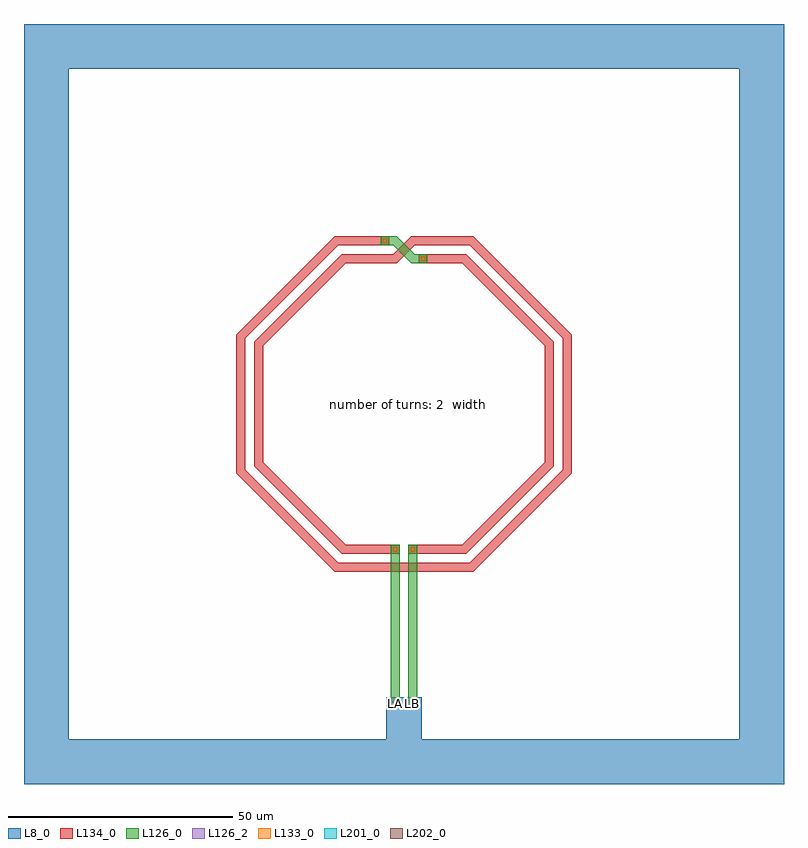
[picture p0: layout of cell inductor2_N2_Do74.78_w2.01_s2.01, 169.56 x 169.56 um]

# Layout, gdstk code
import gdstk
lib = gdstk.Library(unit=1e-6, precision=1e-09)
def R(c, l, rs):  # rectangles x0, y0, x1, y1
    for r in rs: c.add(gdstk.rectangle(r[:2], r[2:], *l))
def P(c, l, *ps):  # polygons
    for p in ps: c.add(gdstk.Polygon(p, *l))
L8_0 = (8, 0)
L126_0 = (126, 0)
L126_2 = (126, 2)
L133_0 = (133, 0)
L134_0 = (134, 0)
L201_0 = (201, 0)
L202_0 = (202, 0)

inductor2_n2_do74_78_w2_ = lib.new_cell('inductor2_N2_Do74.78_w2.01_s2.01')
R(inductor2_n2_do74_78_w2_, L8_0, [(-84.78,-84.78,-74.78,84.78), (-74.78,-84.78,74.78,-74.78), (74.78,-84.78,84.78,84.78), (-4,-74.78,4,-65.39), (-74.78,74.78,74.78,84.78)])
R(inductor2_n2_do74_78_w2_, L126_0, [(-3,-67.39,-1,-31.39), (1,-67.39,3,-31.39)])
P(inductor2_n2_do74_78_w2_, L126_0, [(-5.24,37.39),(-5.24,35.39),(-2.414,35.39),(1.586,31.39),(5.24,31.39),(5.24,33.39),(2.414,33.39),(-1.586,37.39)])
R(inductor2_n2_do74_78_w2_, L126_2, [(-3,-67.39,-1,-66.39), (1,-67.39,3,-66.39)])
R(inductor2_n2_do74_78_w2_, L133_0, [(-2.45,-32.84,-1.55,-31.94), (1.55,-32.84,2.45,-31.94), (3.8,31.94,4.7,32.84), (-4.7,35.94,-3.8,36.84)])
R(inductor2_n2_do74_78_w2_, L134_0, [(-5.245,-37.39,5.245,-35.39)])
P(inductor2_n2_do74_78_w2_, L134_0, [(-3.24,-37.39),(-3.24,-35.39),(-14.656,-35.39),(-35.39,-14.656),(-35.39,2),(-37.39,2),(-37.39,-15.484),(-15.484,-37.39)],
  [(-3.24,35.39),(-3.24,37.39),(-15.484,37.39),(-37.39,15.484),(-37.39,-2),(-35.39,-2),(-35.39,14.656),(-14.656,35.39)],
  [(3.24,-35.39),(3.24,-37.39),(15.484,-37.39),(37.39,-15.484),(37.39,2),(35.39,2),(35.39,-14.656),(14.656,-35.39)],
  [(3.24,37.39),(3.24,35.39),(14.656,35.39),(35.39,14.656),(35.39,-2),(37.39,-2),(37.39,15.484),(15.484,37.39)],
  [(-1,-33.39),(-1,-31.39),(-13.006,-31.39),(-31.39,-13.006),(-31.39,2),(-33.39,2),(-33.39,-13.834),(-13.834,-33.39)],
  [(-3.24,31.39),(-3.24,33.39),(-13.834,33.39),(-33.39,13.834),(-33.39,-2),(-31.39,-2),(-31.39,13.006),(-13.006,31.39)],
  [(1,-31.39),(1,-33.39),(13.834,-33.39),(33.39,-13.834),(33.39,2),(31.39,2),(31.39,-13.006),(13.006,-31.39)],
  [(3.24,33.39),(3.24,31.39),(13.006,31.39),(31.39,13.006),(31.39,-2),(33.39,-2),(33.39,13.834),(13.834,33.39)],
  [(-5.24,33.39),(-5.24,31.39),(-1.586,31.39),(2.414,35.39),(5.24,35.39),(5.24,37.39),(1.586,37.39),(-2.414,33.39)])
R(inductor2_n2_do74_78_w2_, L201_0, [(-3,-67.39,-1,-67.29)])
R(inductor2_n2_do74_78_w2_, L202_0, [(1,-67.39,3,-67.29)])
inductor2_n2_do74_78_w2_.add(gdstk.Label('LA', (-2,-66.89), layer=27, texttype=25))
inductor2_n2_do74_78_w2_.add(gdstk.Label('LB', (2,-66.89), layer=27, texttype=25))
inductor2_n2_do74_78_w2_.add(gdstk.Label('  number of turns: 2\n  width: 2.00\n  spacing: 2.00\n  outer diameter: 74.78\n  inner diameter: 62.78\n', (0,0), layer=63, texttype=0))

lib.write_gds('inductor2_N2_Do74.78_w2.01_s2.01.gds')
